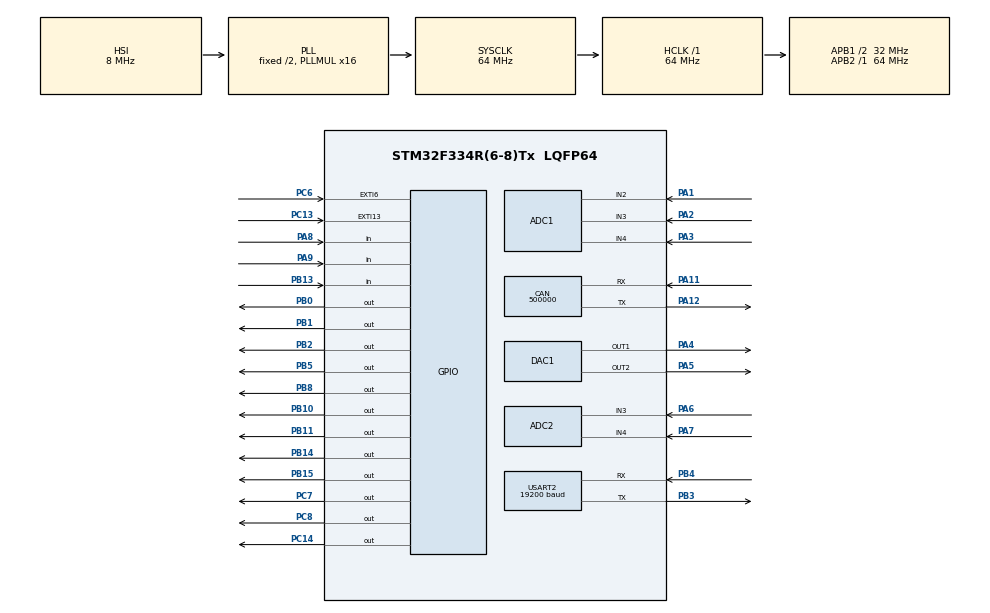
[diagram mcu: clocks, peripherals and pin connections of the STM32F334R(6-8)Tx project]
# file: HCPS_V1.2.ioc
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ADC1.Channel-0\#ChannelRegularConversion=ADC_CHANNEL_2
ADC1.Channel-1\#ChannelRegularConversion=ADC_CHANNEL_3
ADC1.Channel-2\#ChannelRegularConversion=ADC_CHANNEL_4
ADC1.ContinuousConvMode=ENABLE
ADC1.DMAContinuousRequests=ENABLE
ADC1.NbrOfConversion=3
ADC1.NbrOfConversionFlag=1
ADC1.Offset-0\#ChannelRegularConversion=0
ADC1.Offset-1\#ChannelRegularConversion=0
ADC1.Offset-2\#ChannelRegularConversion=0
ADC1.OffsetNumber-0\#ChannelRegularConversion=ADC_OFFSET_NONE
ADC1.OffsetNumber-1\#ChannelRegularConversion=ADC_OFFSET_NONE
ADC1.OffsetNumber-2\#ChannelRegularConversion=ADC_OFFSET_NONE
ADC1.Rank-0\#ChannelRegularConversion=1
ADC1.Rank-1\#ChannelRegularConversion=2
ADC1.Rank-2\#ChannelRegularConversion=3
ADC1.SamplingTime-0\#ChannelRegularConversion=ADC_SAMPLETIME_181CYCLES_5
ADC1.SamplingTime-1\#ChannelRegularConversion=ADC_SAMPLETIME_181CYCLES_5
ADC1.SamplingTime-2\#ChannelRegularConversion=ADC_SAMPLETIME_181CYCLES_5
ADC1.SubFamily=STM32F334x8
ADC1.master=1
ADC2.Channel-0\#ChannelRegularConversion=ADC_CHANNEL_3
ADC2.Channel-1\#ChannelRegularConversion=ADC_CHANNEL_4
ADC2.ContinuousConvMode=ENABLE
ADC2.NbrOfConversion=2
ADC2.NbrOfConversionFlag=1
ADC2.Offset-0\#ChannelRegularConversion=0
ADC2.Offset-1\#ChannelRegularConversion=0
ADC2.OffsetNumber-0\#ChannelRegularConversion=ADC_OFFSET_NONE
ADC2.OffsetNumber-1\#ChannelRegularConversion=ADC_OFFSET_NONE
ADC2.Rank-0\#ChannelRegularConversion=1
ADC2.Rank-1\#ChannelRegularConversion=2
ADC2.SamplingTime-0\#ChannelRegularConversion=ADC_SAMPLETIME_181CYCLES_5
ADC2.SamplingTime-1\#ChannelRegularConversion=ADC_SAMPLETIME_181CYCLES_5
ADC2.SamplingTimeOPAMP-1\#ChannelRegularConversion=ADC_SAMPLETIME_4CYCLES_5
ADC2.SubFamily=STM32F334x8
CAN.BS1=CAN_BS1_2TQ
CAN.CalculateBaudRate=500000
CAN.CalculateTimeBit=2000
CAN.CalculateTimeQuantum=500.0
DAC1.DAC_OutputBuffer=DAC_OUTPUTBUFFER_DISABLE
Dma.ADC1.0.Direction=DMA_PERIPH_TO_MEMORY
Dma.ADC1.0.Instance=DMA1_Channel1
Dma.ADC1.0.MemDataAlignment=DMA_MDATAALIGN_WORD
Dma.ADC1.0.MemInc=DMA_MINC_ENABLE
Dma.ADC1.0.Mode=DMA_CIRCULAR
Dma.ADC1.0.PeriphDataAlignment=DMA_PDATAALIGN_WORD
Dma.ADC1.0.PeriphInc=DMA_PINC_DISABLE
Dma.ADC1.0.Priority=DMA_PRIORITY_LOW
Dma.ADC2.1.Direction=DMA_PERIPH_TO_MEMORY
Dma.ADC2.1.Instance=DMA1_Channel2
Dma.ADC2.1.MemDataAlignment=DMA_MDATAALIGN_WORD
Dma.ADC2.1.MemInc=DMA_MINC_ENABLE
Dma.ADC2.1.Mode=DMA_CIRCULAR
Dma.ADC2.1.PeriphDataAlignment=DMA_PDATAALIGN_WORD
Dma.ADC2.1.PeriphInc=DMA_PINC_DISABLE
Dma.ADC2.1.Priority=DMA_PRIORITY_LOW
Dma.Request0=ADC1
Dma.Request1=ADC2
FREERTOS.Tasks01=defaultTask,24,128,StartDefaultTask,Default,NULL,Dynamic,NULL,NULL;ADCcalculation,53,128,ADCcalculationTask,Default,NULL,Dynamic,NULL,NULL;BoardCommunican,54,128,BoardCommunicanTask,Default,NULL,Dynamic,NULL,NULL;Sputter,55,128,SputterTask,Default,NULL,Dynamic,NULL,NULL
FREERTOS.configTOTAL_HEAP_SIZE=4096
FREERTOS.configUSE_NEWLIB_REENTRANT=1
Mcu.Family=STM32F3
Mcu.Name=STM32F334R(6-8)Tx
Mcu.Package=LQFP64
NVIC.DMA1_Channel1_IRQn=true\:5\:0\:false\:false\:true\:true\:false\:true\:true
NVIC.DMA1_Channel2_IRQn=true\:5\:0\:false\:false\:true\:true\:false\:true\:true
NVIC.EXTI15_10_IRQn=true\:5\:0\:false\:false\:true\:true\:true\:true\:true
NVIC.EXTI9_5_IRQn=true\:5\:0\:false\:false\:true\:true\:true\:true\:true
NVIC.PriorityGroup=NVIC_PRIORITYGROUP_4
NVIC.TIM1_UP_TIM16_IRQn=true\:5\:0\:false\:false\:true\:true\:true\:true\:true
NVIC.TIM6_DAC1_IRQn=true\:15\:0\:false\:false\:true\:false\:false\:true\:true
NVIC.TimeBase=TIM6_DAC1_IRQn
NVIC.TimeBaseIP=TIM6
NVIC.USART2_IRQn=true\:5\:0\:false\:false\:true\:true\:true\:true\:true
PA1.Mode=IN2-Single-Ended
PA1.Signal=ADC1_IN2
PA11.Mode=CAN_Activate
PA11.Signal=CAN_RX
PA12.Mode=CAN_Activate
PA12.Signal=CAN_TX
PA13.Mode=Serial_Wire
PA13.Signal=SYS_JTMS-SWDIO
PA14.Mode=Serial_Wire
PA14.Signal=SYS_JTCK-SWCLK
PA2.Mode=IN3-Single-Ended
PA2.Signal=ADC1_IN3
PA3.Mode=IN4-Single-Ended
PA3.Signal=ADC1_IN4
PA4.Signal=COMP_DAC11_group
PA5.Signal=COMP_DAC12_group
PA6.Mode=IN3-Single-Ended
PA6.Signal=ADC2_IN3
PA7.Mode=IN4-Single-Ended
PA7.Signal=ADC2_IN4
PA8.Signal=GPIO_Input
PA9.Signal=GPIO_Input
PB0.Signal=GPIO_Output
PB1.Signal=GPIO_Output
PB10.Signal=GPIO_Output
PB11.Signal=GPIO_Output
PB13.Signal=GPIO_Input
PB14.Signal=GPIO_Output
PB15.Signal=GPIO_Output
PB2.Signal=GPIO_Output
PB3.Mode=Asynchronous
PB3.Signal=USART2_TX
PB4.Mode=Asynchronous
PB4.Signal=USART2_RX
PB5.Signal=GPIO_Output
PB8.Signal=GPIO_Output
PC13.GPIO_PuPd=GPIO_PULLDOWN
PC13.Signal=GPXTI13
PC14\ /\ OSC32_IN.Signal=GPIO_Output
PC6.GPIO_PuPd=GPIO_PULLDOWN
PC6.Signal=GPXTI6
PC7.Signal=GPIO_Output
PC8.Signal=GPIO_Output
ProjectManager.HeapSize=0x200
ProjectManager.StackSize=0x400
ProjectManager.TargetToolchain=STM32CubeIDE
RCC.AHBFreq_Value=64000000
RCC.APB1CLKDivider=RCC_HCLK_DIV2
RCC.APB1Freq_Value=32000000
RCC.APB1TimFreq_Value=64000000
RCC.APB2Freq_Value=64000000
RCC.APB2TimFreq_Value=64000000
RCC.CortexFreq_Value=64000000
RCC.HCLKFreq_Value=64000000
RCC.HSE_VALUE=8000000
RCC.HSI_VALUE=8000000
RCC.LSE_VALUE=32768
RCC.PLLMUL=RCC_PLL_MUL16
RCC.SYSCLKFreq_VALUE=64000000
RCC.SYSCLKSourceVirtual=RCC_SYSCLKSOURCE_PLLCLK
SH.COMP_DAC11_group.0=DAC1_OUT1,DAC_OUT1
SH.COMP_DAC12_group.0=DAC1_OUT2,DAC_OUT2
TIM1.AutoReloadPreload=TIM_AUTORELOAD_PRELOAD_ENABLE
TIM1.Period=2000
TIM1.Prescaler=32000
TIM1.TIM_MasterOutputTrigger=TIM_TRGO_UPDATE
TIM1.TIM_MasterSlaveMode=TIM_MASTERSLAVEMODE_DISABLE
USART2.BaudRate=19200
USART2.VirtualMode-Asynchronous=VM_ASYNC
VP_CRC_VS_CRC.Mode=CRC_Activate
VP_FREERTOS_VS_CMSIS_V2.Mode=CMSIS_V2
VP_SYS_VS_tim6.Mode=TIM6
VP_TIM1_VS_ClockSourceINT.Mode=Internal
board=custom

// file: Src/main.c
/* USER CODE BEGIN Header */
/**
  ******************************************************************************
  * @file           : main.c
  * @brief          : Main program body
  ******************************************************************************
  * @attention
  *
  * <h2><center>&copy; Copyright (c) 2022 STMicroelectronics.
  * All rights reserved.</center></h2>
  *
  * This software component is licensed by ST under BSD 3-Clause license,
  * the "License"; You may not use this file except in compliance with the
  * License. You may obtain a copy of the License at:
  *                        opensource.org/licenses/BSD-3-Clause
  *
  ******************************************************************************
  */
/* USER CODE END Header */
#include "main.h"
#include "cmsis_os.h"

/* USER CODE BEGIN Includes */
#include "string.h"
#include "stdio.h"
#include "stdint.h"
#include "ADC_Calculation.h"
#include "BoardComm.h"
#include "Sputter.h"
/* USER CODE END Includes */

ADC_HandleTypeDef hadc1;
ADC_HandleTypeDef hadc2;
DMA_HandleTypeDef hdma_adc1;
DMA_HandleTypeDef hdma_adc2;

CAN_HandleTypeDef hcan;

CRC_HandleTypeDef hcrc;

DAC_HandleTypeDef hdac1;

TIM_HandleTypeDef htim1;

UART_HandleTypeDef huart2;

/* Definitions for defaultTask */
osThreadId_t defaultTaskHandle;
const osThreadAttr_t defaultTask_attributes = {
  .name = "defaultTask",
  .stack_size = 128 * 4,
  .priority = (osPriority_t) osPriorityNormal,
};
/* Definitions for ADCcalculation */
osThreadId_t ADCcalculationHandle;
const osThreadAttr_t ADCcalculation_attributes = {
  .name = "ADCcalculation",
  .stack_size = 128 * 4,
  .priority = (osPriority_t) osPriorityRealtime5,
};
/* Definitions for BoardCommunican */
osThreadId_t BoardCommunicanHandle;
const osThreadAttr_t BoardCommunican_attributes = {
  .name = "BoardCommunican",
  .stack_size = 128 * 4,
  .priority = (osPriority_t) osPriorityRealtime6,
};
/* Definitions for Sputter */
osThreadId_t SputterHandle;
const osThreadAttr_t Sputter_attributes = {
  .name = "Sputter",
  .stack_size = 128 * 4,
  .priority = (osPriority_t) osPriorityRealtime7,
};
/* USER CODE BEGIN PV */
unsigned char state='S';
uint32_t ADC_Calibration_Factor_1, ADC_Calibration_Factor_2, ADC_Buffer_2[5];
uint16_t tacho1,tacho2,tacho1_Backup,tacho2_Backup,Usart_Counter;
/* USER CODE END PV */

void SystemClock_Config(void);
static void MX_GPIO_Init(void);
static void MX_DMA_Init(void);
static void MX_ADC1_Init(void);
static void MX_DAC1_Init(void);
static void MX_ADC2_Init(void);
static void MX_CRC_Init(void);
static void MX_USART2_UART_Init(void);
static void MX_CAN_Init(void);
static void MX_TIM1_Init(void);
void StartDefaultTask(void *argument);
void ADCcalculationTask(void *argument);
void BoardCommunicanTask(void *argument);
void SputterTask(void *argument);

/* USER CODE BEGIN 0 */
extern uint32_t ADC_Buffer[5];

/* USER CODE END 0 */

int main(void)
{

  /* MCU Configuration--------------------------------------------------------*/

  /* Reset of all peripherals, Initializes the Flash interface and the Systick. */
  HAL_Init();

  /* Configure the system clock */
  SystemClock_Config();

  /* Initialize all configured peripherals */
  MX_GPIO_Init();
  MX_DMA_Init();
  MX_ADC1_Init();
  MX_DAC1_Init();
  MX_ADC2_Init();
  MX_CRC_Init();
  MX_USART2_UART_Init();
  MX_CAN_Init();
  MX_TIM1_Init();
  /* USER CODE BEGIN 2 */
	HAL_DAC_Start(&hdac1, DAC_CHANNEL_1);
	HAL_DAC_Start(&hdac1, DAC_CHANNEL_2);

	__HAL_UART_ENABLE_IT(&huart2, UART_IT_RXNE);	// Receive Data register not empty interrupt
	__HAL_UART_ENABLE_IT(&huart2, UART_IT_TC);		// Transmission complete interrupt

	HAL_ADCEx_Calibration_Start(&hadc1, ADC_SINGLE_ENDED);
	ADC_Calibration_Factor_1 = HAL_ADCEx_Calibration_GetValue(&hadc1, ADC_SINGLE_ENDED);
	HAL_ADCEx_Calibration_SetValue(&hadc1, ADC_SINGLE_ENDED, ADC_Calibration_Factor_1);
	HAL_ADC_Start_DMA(&hadc1, (uint32_t*) ADC_Buffer, 3);

	HAL_ADCEx_Calibration_Start(&hadc2, ADC_SINGLE_ENDED);
	ADC_Calibration_Factor_2 = HAL_ADCEx_Calibration_GetValue(&hadc2, ADC_SINGLE_ENDED);
	HAL_ADCEx_Calibration_SetValue(&hadc2, ADC_SINGLE_ENDED, ADC_Calibration_Factor_2);
	HAL_ADC_Start_DMA(&hadc2, (uint32_t*) ADC_Buffer_2, 3);
	HAL_GPIO_WritePin(GPIOB,GPIO_PIN_5,GPIO_PIN_RESET);							// DE/RE = 0 ----> ADM485 is in
	HAL_TIM_Base_Start_IT(&htim1);
	HAL_GPIO_WritePin(GPIOC,GPIO_PIN_14,GPIO_PIN_SET);//Fan Enable

  /* USER CODE END 2 */

  /* Init scheduler */
  osKernelInitialize();

  /* Create the thread(s) */
  /* creation of defaultTask */
  defaultTaskHandle = osThreadNew(StartDefaultTask, NULL, &defaultTask_attributes);

  /* creation of ADCcalculation */
  ADCcalculationHandle = osThreadNew(ADCcalculationTask, NULL, &ADCcalculation_attributes);

  /* creation of BoardCommunican */
  BoardCommunicanHandle = osThreadNew(BoardCommunicanTask, NULL, &BoardCommunican_attributes);

  /* creation of Sputter */
  SputterHandle = osThreadNew(SputterTask, NULL, &Sputter_attributes);

  /* Start scheduler */
  osKernelStart();

  /* We should never get here as control is now taken by the scheduler */
  /* Infinite loop */
  while (1)
  {

  }
}
void SystemClock_Config(void)
{
  RCC_OscInitTypeDef RCC_OscInitStruct = {0};
  RCC_ClkInitTypeDef RCC_ClkInitStruct = {0};
  RCC_PeriphCLKInitTypeDef PeriphClkInit = {0};

  /** Initializes the RCC Oscillators according to the specified parameters
  * in the RCC_OscInitTypeDef structure.
  */
  RCC_OscInitStruct.OscillatorType = RCC_OSCILLATORTYPE_HSI;
  RCC_OscInitStruct.HSIState = RCC_HSI_ON;
  RCC_OscInitStruct.HSICalibrationValue = RCC_HSICALIBRATION_DEFAULT;
  RCC_OscInitStruct.PLL.PLLState = RCC_PLL_ON;
  RCC_OscInitStruct.PLL.PLLSource = RCC_PLLSOURCE_HSI;
  RCC_OscInitStruct.PLL.PLLMUL = RCC_PLL_MUL16;
  if (HAL_RCC_OscConfig(&RCC_OscInitStruct) != HAL_OK)
  {
    Error_Handler();
  }

  /** Initializes the CPU, AHB and APB buses clocks
  */
  RCC_ClkInitStruct.ClockType = RCC_CLOCKTYPE_HCLK|RCC_CLOCKTYPE_SYSCLK
                              |RCC_CLOCKTYPE_PCLK1|RCC_CLOCKTYPE_PCLK2;
  RCC_ClkInitStruct.SYSCLKSource = RCC_SYSCLKSOURCE_PLLCLK;
  RCC_ClkInitStruct.AHBCLKDivider = RCC_SYSCLK_DIV1;
  RCC_ClkInitStruct.APB1CLKDivider = RCC_HCLK_DIV2;
  RCC_ClkInitStruct.APB2CLKDivider = RCC_HCLK_DIV1;

  if (HAL_RCC_ClockConfig(&RCC_ClkInitStruct, FLASH_LATENCY_2) != HAL_OK)
  {
    Error_Handler();
  }
  PeriphClkInit.PeriphClockSelection = RCC_PERIPHCLK_TIM1|RCC_PERIPHCLK_ADC12;
  PeriphClkInit.Adc12ClockSelection = RCC_ADC12PLLCLK_DIV1;
  PeriphClkInit.Tim1ClockSelection = RCC_TIM1CLK_HCLK;
  if (HAL_RCCEx_PeriphCLKConfig(&PeriphClkInit) != HAL_OK)
  {
    Error_Handler();
  }
}

static void MX_ADC1_Init(void)
{

  ADC_MultiModeTypeDef multimode = {0};
  ADC_ChannelConfTypeDef sConfig = {0};

  /** Common config
  */
  hadc1.Instance = ADC1;
  hadc1.Init.ClockPrescaler = ADC_CLOCK_ASYNC_DIV1;
  hadc1.Init.Resolution = ADC_RESOLUTION_12B;
  hadc1.Init.ScanConvMode = ADC_SCAN_ENABLE;
  hadc1.Init.ContinuousConvMode = ENABLE;
  hadc1.Init.DiscontinuousConvMode = DISABLE;
  hadc1.Init.ExternalTrigConvEdge = ADC_EXTERNALTRIGCONVEDGE_NONE;
  hadc1.Init.ExternalTrigConv = ADC_SOFTWARE_START;
  hadc1.Init.DataAlign = ADC_DATAALIGN_RIGHT;
  hadc1.Init.NbrOfConversion = 3;
  hadc1.Init.DMAContinuousRequests = ENABLE;
  hadc1.Init.EOCSelection = ADC_EOC_SINGLE_CONV;
  hadc1.Init.LowPowerAutoWait = DISABLE;
  hadc1.Init.Overrun = ADC_OVR_DATA_OVERWRITTEN;
  if (HAL_ADC_Init(&hadc1) != HAL_OK)
  {
    Error_Handler();
  }

  /** Configure the ADC multi-mode
  */
  multimode.Mode = ADC_MODE_INDEPENDENT;
  if (HAL_ADCEx_MultiModeConfigChannel(&hadc1, &multimode) != HAL_OK)
  {
    Error_Handler();
  }

  /** Configure Regular Channel
  */
  sConfig.Channel = ADC_CHANNEL_2;
  sConfig.Rank = ADC_REGULAR_RANK_1;
  sConfig.SingleDiff = ADC_SINGLE_ENDED;
  sConfig.SamplingTime = ADC_SAMPLETIME_181CYCLES_5;
  sConfig.OffsetNumber = ADC_OFFSET_NONE;
  sConfig.Offset = 0;
  if (HAL_ADC_ConfigChannel(&hadc1, &sConfig) != HAL_OK)
  {
    Error_Handler();
  }

  /** Configure Regular Channel
  */
  sConfig.Channel = ADC_CHANNEL_3;
  sConfig.Rank = ADC_REGULAR_RANK_2;
  if (HAL_ADC_ConfigChannel(&hadc1, &sConfig) != HAL_OK)
  {
    Error_Handler();
  }

  /** Configure Regular Channel
  */
  sConfig.Channel = ADC_CHANNEL_4;
  sConfig.Rank = ADC_REGULAR_RANK_3;
  if (HAL_ADC_ConfigChannel(&hadc1, &sConfig) != HAL_OK)
  {
    Error_Handler();
  }

}

static void MX_ADC2_Init(void)
{

  ADC_ChannelConfTypeDef sConfig = {0};

  /** Common config
  */
  hadc2.Instance = ADC2;
  hadc2.Init.ClockPrescaler = ADC_CLOCK_ASYNC_DIV1;
  hadc2.Init.Resolution = ADC_RESOLUTION_12B;
  hadc2.Init.ScanConvMode = ADC_SCAN_ENABLE;
  hadc2.Init.ContinuousConvMode = ENABLE;
  hadc2.Init.DiscontinuousConvMode = DISABLE;
  hadc2.Init.ExternalTrigConvEdge = ADC_EXTERNALTRIGCONVEDGE_NONE;
  hadc2.Init.ExternalTrigConv = ADC_SOFTWARE_START;
  hadc2.Init.DataAlign = ADC_DATAALIGN_RIGHT;
  hadc2.Init.NbrOfConversion = 2;
  hadc2.Init.DMAContinuousRequests = DISABLE;
  hadc2.Init.EOCSelection = ADC_EOC_SINGLE_CONV;
  hadc2.Init.LowPowerAutoWait = DISABLE;
  hadc2.Init.Overrun = ADC_OVR_DATA_OVERWRITTEN;
  if (HAL_ADC_Init(&hadc2) != HAL_OK)
  {
    Error_Handler();
  }

  /** Configure Regular Channel
  */
  sConfig.Channel = ADC_CHANNEL_3;
  sConfig.Rank = ADC_REGULAR_RANK_1;
  sConfig.SingleDiff = ADC_SINGLE_ENDED;
  sConfig.SamplingTime = ADC_SAMPLETIME_181CYCLES_5;
  sConfig.OffsetNumber = ADC_OFFSET_NONE;
  sConfig.Offset = 0;
  if (HAL_ADC_ConfigChannel(&hadc2, &sConfig) != HAL_OK)
  {
    Error_Handler();
  }

  /** Configure Regular Channel
  */
  sConfig.Channel = ADC_CHANNEL_4;
  sConfig.Rank = ADC_REGULAR_RANK_2;
  if (HAL_ADC_ConfigChannel(&hadc2, &sConfig) != HAL_OK)
  {
    Error_Handler();
  }

}

static void MX_CAN_Init(void)
{

  hcan.Instance = CAN;
  hcan.Init.Prescaler = 16;
  hcan.Init.Mode = CAN_MODE_NORMAL;
  hcan.Init.SyncJumpWidth = CAN_SJW_1TQ;
  hcan.Init.TimeSeg1 = CAN_BS1_2TQ;
  hcan.Init.TimeSeg2 = CAN_BS2_1TQ;
  hcan.Init.TimeTriggeredMode = DISABLE;
  hcan.Init.AutoBusOff = DISABLE;
  hcan.Init.AutoWakeUp = DISABLE;
  hcan.Init.AutoRetransmission = DISABLE;
  hcan.Init.ReceiveFifoLocked = DISABLE;
  hcan.Init.TransmitFifoPriority = DISABLE;
  if (HAL_CAN_Init(&hcan) != HAL_OK)
  {
    Error_Handler();
  }

}

static void MX_CRC_Init(void)
{

  hcrc.Instance = CRC;
  hcrc.Init.DefaultPolynomialUse = DEFAULT_POLYNOMIAL_ENABLE;
  hcrc.Init.DefaultInitValueUse = DEFAULT_INIT_VALUE_ENABLE;
  hcrc.Init.InputDataInversionMode = CRC_INPUTDATA_INVERSION_NONE;
  hcrc.Init.OutputDataInversionMode = CRC_OUTPUTDATA_INVERSION_DISABLE;
  hcrc.InputDataFormat = CRC_INPUTDATA_FORMAT_BYTES;
  if (HAL_CRC_Init(&hcrc) != HAL_OK)
  {
    Error_Handler();
  }

}

static void MX_DAC1_Init(void)
{

  DAC_ChannelConfTypeDef sConfig = {0};

  /** DAC Initialization
  */
  hdac1.Instance = DAC1;
  if (HAL_DAC_Init(&hdac1) != HAL_OK)
  {
    Error_Handler();
  }

  /** DAC channel OUT1 config
  */
  sConfig.DAC_Trigger = DAC_TRIGGER_NONE;
  sConfig.DAC_OutputBuffer = DAC_OUTPUTBUFFER_DISABLE;
  if (HAL_DAC_ConfigChannel(&hdac1, &sConfig, DAC_CHANNEL_1) != HAL_OK)
  {
    Error_Handler();
  }

  /** DAC channel OUT2 config
  */
  sConfig.DAC_OutputSwitch = DAC_OUTPUTSWITCH_ENABLE;
  if (HAL_DAC_ConfigChannel(&hdac1, &sConfig, DAC_CHANNEL_2) != HAL_OK)
  {
    Error_Handler();
  }

}

static void MX_TIM1_Init(void)
{

  TIM_ClockConfigTypeDef sClockSourceConfig = {0};
  TIM_MasterConfigTypeDef sMasterConfig = {0};

  htim1.Instance = TIM1;
  htim1.Init.Prescaler = 32000;
  htim1.Init.CounterMode = TIM_COUNTERMODE_UP;
  htim1.Init.Period = 2000;
  htim1.Init.ClockDivision = TIM_CLOCKDIVISION_DIV1;
  htim1.Init.RepetitionCounter = 0;
  htim1.Init.AutoReloadPreload = TIM_AUTORELOAD_PRELOAD_ENABLE;
  if (HAL_TIM_Base_Init(&htim1) != HAL_OK)
  {
    Error_Handler();
  }
  sClockSourceConfig.ClockSource = TIM_CLOCKSOURCE_INTERNAL;
  if (HAL_TIM_ConfigClockSource(&htim1, &sClockSourceConfig) != HAL_OK)
  {
    Error_Handler();
  }
  sMasterConfig.MasterOutputTrigger = TIM_TRGO_UPDATE;
  sMasterConfig.MasterOutputTrigger2 = TIM_TRGO2_RESET;
  sMasterConfig.MasterSlaveMode = TIM_MASTERSLAVEMODE_DISABLE;
  if (HAL_TIMEx_MasterConfigSynchronization(&htim1, &sMasterConfig) != HAL_OK)
  {
    Error_Handler();
  }

}

static void MX_USART2_UART_Init(void)
{

  huart2.Instance = USART2;
  huart2.Init.BaudRate = 19200;
  huart2.Init.WordLength = UART_WORDLENGTH_8B;
  huart2.Init.StopBits = UART_STOPBITS_1;
  huart2.Init.Parity = UART_PARITY_NONE;
  huart2.Init.Mode = UART_MODE_TX_RX;
  huart2.Init.HwFlowCtl = UART_HWCONTROL_NONE;
  huart2.Init.OverSampling = UART_OVERSAMPLING_16;
  huart2.Init.OneBitSampling = UART_ONE_BIT_SAMPLE_DISABLE;
  huart2.AdvancedInit.AdvFeatureInit = UART_ADVFEATURE_NO_INIT;
  if (HAL_UART_Init(&huart2) != HAL_OK)
  {
    Error_Handler();
  }

}

static void MX_DMA_Init(void)
{

  /* DMA controller clock enable */
  __HAL_RCC_DMA1_CLK_ENABLE();

  /* DMA interrupt init */
  /* DMA1_Channel1_IRQn interrupt configuration */
  HAL_NVIC_SetPriority(DMA1_Channel1_IRQn, 5, 0);
  HAL_NVIC_EnableIRQ(DMA1_Channel1_IRQn);
  /* DMA1_Channel2_IRQn interrupt configuration */
  HAL_NVIC_SetPriority(DMA1_Channel2_IRQn, 5, 0);
  HAL_NVIC_EnableIRQ(DMA1_Channel2_IRQn);

}

static void MX_GPIO_Init(void)
{
  GPIO_InitTypeDef GPIO_InitStruct = {0};

  /* GPIO Ports Clock Enable */
  __HAL_RCC_GPIOC_CLK_ENABLE();
  __HAL_RCC_GPIOA_CLK_ENABLE();
  __HAL_RCC_GPIOB_CLK_ENABLE();

  /*Configure GPIO pin Output Level */
  HAL_GPIO_WritePin(GPIOC, GPIO_PIN_14|GPIO_PIN_7|GPIO_PIN_8, GPIO_PIN_RESET);

  /*Configure GPIO pin Output Level */
  HAL_GPIO_WritePin(GPIOB, GPIO_PIN_0|GPIO_PIN_1|GPIO_PIN_2|GPIO_PIN_10
                          |GPIO_PIN_11|GPIO_PIN_14|GPIO_PIN_15|GPIO_PIN_5
                          |GPIO_PIN_8, GPIO_PIN_RESET);

  /*Configure GPIO pins : PC13 PC6 */
  GPIO_InitStruct.Pin = GPIO_PIN_13|GPIO_PIN_6;
  GPIO_InitStruct.Mode = GPIO_MODE_IT_RISING;
  GPIO_InitStruct.Pull = GPIO_PULLDOWN;
  HAL_GPIO_Init(GPIOC, &GPIO_InitStruct);

  /*Configure GPIO pins : PC14 PC7 PC8 */
  GPIO_InitStruct.Pin = GPIO_PIN_14|GPIO_PIN_7|GPIO_PIN_8;
  GPIO_InitStruct.Mode = GPIO_MODE_OUTPUT_PP;
  GPIO_InitStruct.Pull = GPIO_NOPULL;
  GPIO_InitStruct.Speed = GPIO_SPEED_FREQ_LOW;
  HAL_GPIO_Init(GPIOC, &GPIO_InitStruct);

  /*Configure GPIO pins : PB0 PB1 PB2 PB10
                           PB11 PB14 PB15 PB5
                           PB8 */
  GPIO_InitStruct.Pin = GPIO_PIN_0|GPIO_PIN_1|GPIO_PIN_2|GPIO_PIN_10
                          |GPIO_PIN_11|GPIO_PIN_14|GPIO_PIN_15|GPIO_PIN_5
                          |GPIO_PIN_8;
  GPIO_InitStruct.Mode = GPIO_MODE_OUTPUT_PP;
  GPIO_InitStruct.Pull = GPIO_NOPULL;
  GPIO_InitStruct.Speed = GPIO_SPEED_FREQ_LOW;
  HAL_GPIO_Init(GPIOB, &GPIO_InitStruct);

  /*Configure GPIO pin : PB13 */
  GPIO_InitStruct.Pin = GPIO_PIN_13;
  GPIO_InitStruct.Mode = GPIO_MODE_INPUT;
  GPIO_InitStruct.Pull = GPIO_NOPULL;
  HAL_GPIO_Init(GPIOB, &GPIO_InitStruct);

  /*Configure GPIO pins : PA8 PA9 */
  GPIO_InitStruct.Pin = GPIO_PIN_8|GPIO_PIN_9;
  GPIO_InitStruct.Mode = GPIO_MODE_INPUT;
  GPIO_InitStruct.Pull = GPIO_NOPULL;
  HAL_GPIO_Init(GPIOA, &GPIO_InitStruct);

  /* EXTI interrupt init*/
  HAL_NVIC_SetPriority(EXTI9_5_IRQn, 5, 0);
  HAL_NVIC_EnableIRQ(EXTI9_5_IRQn);

  HAL_NVIC_SetPriority(EXTI15_10_IRQn, 5, 0);
  HAL_NVIC_EnableIRQ(EXTI15_10_IRQn);

}

void StartDefaultTask(void *argument)
{
  for(;;)
  {
    osDelay(1);
  }
}

void ADCcalculationTask(void *argument)
{
  /* USER CODE BEGIN ADCcalculationTask */
  /* Infinite loop */
  for(;;)
  {
	ADC_CaculationFunc();
  }
  /* USER CODE END ADCcalculationTask */
}

void BoardCommunicanTask(void *argument)
{
  /* USER CODE BEGIN BoardCommunicanTask */
  /* Infinite loop */
  for(;;)
  {
	BoardCommFunc();
  }
  /* USER CODE END BoardCommunicanTask */
}

void SputterTask(void *argument)
{
  /* USER CODE BEGIN SputterTask */
  /* Infinite loop */
  for(;;)
  {
	SputterFunc();
  }
  /* USER CODE END SputterTask */
}

void HAL_TIM_PeriodElapsedCallback(TIM_HandleTypeDef *htim)
{
  if (htim->Instance == TIM6) {
    HAL_IncTick();
  }
}

void Error_Handler(void)
{
  __disable_irq();
  while (1)
  {
  }
}
